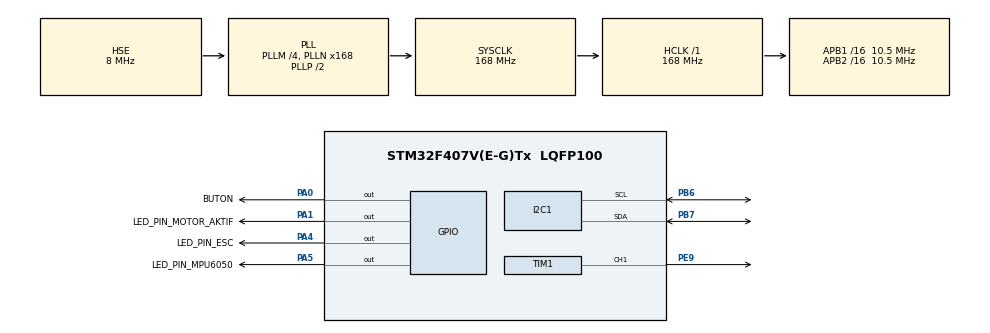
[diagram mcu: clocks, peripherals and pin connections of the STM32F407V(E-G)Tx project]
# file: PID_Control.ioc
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Dma.Request0=TIM1_CH1
Dma.TIM1_CH1.0.Direction=DMA_PERIPH_TO_MEMORY
Dma.TIM1_CH1.0.FIFOMode=DMA_FIFOMODE_DISABLE
Dma.TIM1_CH1.0.Instance=DMA2_Stream1
Dma.TIM1_CH1.0.MemDataAlignment=DMA_MDATAALIGN_HALFWORD
Dma.TIM1_CH1.0.MemInc=DMA_MINC_ENABLE
Dma.TIM1_CH1.0.Mode=DMA_CIRCULAR
Dma.TIM1_CH1.0.PeriphDataAlignment=DMA_PDATAALIGN_HALFWORD
Dma.TIM1_CH1.0.PeriphInc=DMA_PINC_DISABLE
Dma.TIM1_CH1.0.Priority=DMA_PRIORITY_LOW
I2C1.I2C_Mode=I2C_Fast
Mcu.Family=STM32F4
Mcu.Name=STM32F407V(E-G)Tx
Mcu.Package=LQFP100
NVIC.DMA2_Stream1_IRQn=true\:0\:0\:false\:false\:true\:false\:true\:true
NVIC.PriorityGroup=NVIC_PRIORITYGROUP_0
PA0-WKUP.GPIO_Label=BUTON
PA0-WKUP.Signal=GPIO_Output
PA1.GPIO_Label=LED_PIN_MOTOR_AKTIF
PA1.Signal=GPIO_Output
PA13.Mode=Serial_Wire
PA13.Signal=SYS_JTMS-SWDIO
PA14.Mode=Serial_Wire
PA14.Signal=SYS_JTCK-SWCLK
PA4.GPIO_Label=LED_PIN_ESC
PA4.Signal=GPIO_Output
PA5.GPIO_Label=LED_PIN_MPU6050
PA5.Signal=GPIO_Output
PB6.Mode=I2C
PB6.Signal=I2C1_SCL
PB7.Mode=I2C
PB7.Signal=I2C1_SDA
PE9.Signal=S_TIM1_CH1
PH0-OSC_IN.Mode=HSE-External-Oscillator
PH0-OSC_IN.Signal=RCC_OSC_IN
PH1-OSC_OUT.Mode=HSE-External-Oscillator
PH1-OSC_OUT.Signal=RCC_OSC_OUT
ProjectManager.HeapSize=0x200
ProjectManager.StackSize=0x400
ProjectManager.TargetToolchain=STM32CubeIDE
RCC.48MHZClocksFreq_Value=48000000
RCC.AHBFreq_Value=168000000
RCC.APB1CLKDivider=RCC_HCLK_DIV16
RCC.APB1Freq_Value=10500000
RCC.APB1TimFreq_Value=21000000
RCC.APB2CLKDivider=RCC_HCLK_DIV16
RCC.APB2Freq_Value=10500000
RCC.APB2TimFreq_Value=21000000
RCC.CortexFreq_Value=168000000
RCC.HCLKFreq_Value=168000000
RCC.HSE_VALUE=8000000
RCC.HSI_VALUE=16000000
RCC.LSE_VALUE=32768
RCC.PLLM=4
RCC.PLLN=168
RCC.PLLQ=7
RCC.PLLSourceVirtual=RCC_PLLSOURCE_HSE
RCC.SYSCLKFreq_VALUE=168000000
RCC.SYSCLKSource=RCC_SYSCLKSOURCE_PLLCLK
RCC.VCOOutputFreq_Value=336000000
SH.S_TIM1_CH1.0=TIM1_CH1,PWM Generation1 CH1
TIM1.Channel-PWM\ Generation1\ CH1=TIM_CHANNEL_1
TIM1.Period=1000-1
TIM1.Prescaler=420-1
board=STM32F407G-DISC1

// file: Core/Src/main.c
/* USER CODE BEGIN Header */
/**
  ******************************************************************************
  * @file           : main.c
  * @brief          : Main program body
  ******************************************************************************
  * @attention
  *
  * Copyright (c) 2024 STMicroelectronics.
  * All rights reserved.
  *
  * This software is licensed under terms that can be found in the LICENSE file
  * in the root directory of this software component.
  * If no LICENSE file comes with this software, it is provided AS-IS.
  *
  ******************************************************************************
  */
/* USER CODE END Header */
#include "main.h"

/* USER CODE BEGIN Includes */
#include "stm32f4xx_hal.h"
#include "stdio.h"
#include "stdlib.h"
#include "math.h"
#include "string.h"
#include "stdbool.h"
/* USER CODE END Includes */

/* USER CODE BEGIN PTD */
#define Calibrate 1
/* USER CODE END PTD */

/* USER CODE BEGIN PD */
#define MPU6050_ADDR 0x68<<1 // MPU6050 sensörünün I2C adresi. 0x68 adresini sola 1 bit kaydırarak (0xD0) elde edilir.
#define PWR_MGMT_1_REG 0x6B // Güç yönetimi kaydı 1'in adresi. Sensörün çalışma modunu ayarlamak için kullanılır.
#define SMPLRT_DIV_REG 0x19 // Örnekleme hızı bölen kaydının adresi. Sensörün örnekleme hızını ayarlamak için kullanılır.
#define GYRO_CNFG_REG 0x1B // Jiroskop yapılandırma kaydının adresi. Jiroskopun hassasiyetini ayarlamak için kullanılır.
#define ACC_CNFG_REG 0x1C // İvmeölçer yapılandırma kaydının adresi. İvmeölçerin hassasiyetini ayarlamak için kullanılır.

/* USER CODE END PD */

I2C_HandleTypeDef hi2c1;

TIM_HandleTypeDef htim1;
DMA_HandleTypeDef hdma_tim1_ch1;

/* USER CODE BEGIN PV */
uint8_t data; // Genel amaçlı bir bayt (8 bit) veri saklamak için kullanılır.
uint8_t buffer[2], cuffer[2], tuffer[2]; // I2C veri alışverişi için kullanılan bayt dizileri.
int16_t gyro_raw[3], acc_raw[3]; // Ham jiroskop ve ivmeölçer verilerini saklamak için kullanılan 16 bitlik tam sayı dizileri.
float gyro_cal[3]; // Jiroskop kalibrasyon değerlerini saklamak için kullanılan kayan noktalı sayı dizisi.
int16_t acc_total_vector; // İvmeölçer verilerinin toplam vektör büyüklüğünü saklamak için kullanılan 16 bitlik tam sayı.
float angle_pitch_gyro, angle_roll_gyro; // Jiroskop verilerine dayalı olarak hesaplanan pitch ve roll açıları.
float angle_pitch_acc, angle_roll_acc; // İvmeölçer verilerine dayalı olarak hesaplanan pitch ve roll açıları.
float angle_pitch, angle_roll; // Filtrelenmiş son pitch ve roll açıları.
int16_t raw_temp; // Ham sıcaklık verisini saklamak için kullanılan 16 bitlik tam sayı.
float temp; // İşlenmiş sıcaklık değerini saklamak için kullanılan kayan noktalı sayı.
int i; // Genel amaçlı döngü sayacı veya indeks değişkeni.
float prevtime, prevtime1, time1, elapsedtime1, prevtime2, time2, elapsedtime2; // Zaman ölçümü ve geçen süre hesaplamaları için kullanılan kayan noktalı sayılar.
HAL_StatusTypeDef set_gyro; // HAL fonksiyonlarının dönüş değerini saklamak için kullanılan enum türü.
// PID kontrolcüsü parametrelerini başlat
float Kp = 0.01f; // Oransal kazanç.
float Ki = 0.00000001f; // İntegral kazanç.
float Kd = 15.00f; // Türevsel kazanç.
// Hedef açıyı belirle (örneğin derece cinsinden)
float hedef_aci = 30.0f; // Sistem tarafından ulaşılması gereken hedef açı.
float mevcut_aci = 0.0f; // Sistemin mevcut açısı.
// Hata ve zaman için başlangıç değerlerini ayarla
float pid_cikti; // PID kontrolcüsünün çıktı değeri.
float hata = 0.0f; // Hedef açı ile mevcut açı arasındaki fark.
float turevsel_hata; // Hatanın zaman içindeki değişim oranı.
float onceki_hata = 0.0f; // Önceki hata değeri.
float toplam_hata = 0.0f; // Hataların zaman içindeki toplamı (integrali).
uint32_t onceki_zaman = 0; // Önceki zaman ölçümü.
uint32_t simdiki_zaman = 0; // �?imdiki zaman ölçümü.
float CCR_degeri; // PWM sinyalinin karşılaştırma değeri.
int sayim = 0; // Genel amaçlı sayaç veya durum bayrağı.
bool motorAktif = false; // Motorun aktif olup olmadığını kontrol eden değişken.
/* USER CODE END PV */

void SystemClock_Config(void);
static void MX_GPIO_Init(void);
static void MX_DMA_Init(void);
static void MX_TIM1_Init(void);
static void MX_I2C1_Init(void);

/* USER CODE BEGIN 0 */

// Mikrosaniye cinsinden zamanı döndüren fonksiyon
// STM32'de bu işlevi SysTick timer sağlar.
// SysTick timer kullanarak milisaniye cinsinden zamanı döndüren fonksiyon
uint32_t getMillis(){
    return HAL_GetTick();
}

// CCR değerini güncellemek için fonksiyon
void CCR_guncelle() {
    static unsigned long onceki_zaman = 0; // Önceki zamanı saklamak için statik değişken
    unsigned long simdiki_zaman = getMillis(); // Geçerli zamanı al
    unsigned long delta_zaman = simdiki_zaman - onceki_zaman; // Zaman farkını hesapla

    // Eğer sayım 0 ise, CCR değerini başlangıç değeri olan 50.0f yap ve sayımı 1 yap
     if (sayim == 0) {
         CCR_degeri = 50.0f;
         sayim = 1;
         onceki_zaman = simdiki_zaman;
     }
     // Eğer zaman farkı 100ms'den büyükse CCR değerini güncelle
    if (delta_zaman > 300) {
        // PID çıktısının işaretine göre CCR değerini artır veya azalt
        CCR_degeri += pid_cikti;
        onceki_zaman = simdiki_zaman; // Zamanı güncelle

        // CCR değerini minimum ve maksimum sınırlar içinde tut
        const float CCR_MIN = 50.0f;
        const float CCR_MAX = 100.0f;
        CCR_degeri = (CCR_degeri < CCR_MIN) ? CCR_MIN : (CCR_degeri > CCR_MAX) ? CCR_MAX : CCR_degeri;

        // CCR değerini PWM sinyali için güncelle
        __HAL_TIM_SET_COMPARE(&htim1, TIM_CHANNEL_1, CCR_degeri);
    }
}

// MPU6050 'den açı değerini oku
void mpu6050() {
    // Zaman ölçümü için değişkenler
    prevtime1 = time1; // Önceki zamanı sakla
    time1 = HAL_GetTick(); // Geçerli zamanı al
    elapsedtime1 = (time1 - prevtime1) * 1000; // Geçen süreyi hesapla

    // İvmeölçer verilerini oku
    tuffer[0] = 0x3B; // İvmeölçer veri başlangıç adresi
    HAL_I2C_Master_Transmit(&hi2c1, MPU6050_ADDR, tuffer, 1, HAL_MAX_DELAY); // Adresi gönder
    HAL_I2C_Master_Receive(&hi2c1, MPU6050_ADDR, tuffer, 6, HAL_MAX_DELAY); // 6 bayt veri al

    // Ham ivmeölçer verilerini birleştir
    acc_raw[0] = (tuffer[0] << 8 | tuffer[1]); // X ekseni
    acc_raw[1] = (tuffer[2] << 8 | tuffer[3]); // Y ekseni
    acc_raw[2] = (tuffer[4] << 8 | tuffer[5]); // Z ekseni

    // Sıcaklık verisini oku
    buffer[0] = 0x41; // Sıcaklık veri başlangıç adresi
    HAL_I2C_Master_Transmit(&hi2c1, MPU6050_ADDR, buffer, 1, HAL_MAX_DELAY); // Adresi gönder
    HAL_I2C_Master_Receive(&hi2c1, MPU6050_ADDR, buffer, 2, HAL_MAX_DELAY); // 2 bayt veri al

    // Ham sıcaklık verisini birleştir ve gerçek sıcaklığa çevir
    raw_temp = (buffer[0] << 8 | buffer[1]);
    temp = (raw_temp / 340.0) + 36.53; // MPU6050 datasheet formülüne göre hesaplama

    // Jiroskop verilerini oku
    cuffer[0] = 0x43; // Jiroskop veri başlangıç adresi
    HAL_I2C_Master_Transmit(&hi2c1, MPU6050_ADDR, cuffer, 1, HAL_MAX_DELAY); // Adresi gönder
    HAL_I2C_Master_Receive(&hi2c1, MPU6050_ADDR, cuffer, 6, HAL_MAX_DELAY); // 6 bayt veri al

    // Ham jiroskop verilerini birleştir ve kalibrasyon değerlerini çıkar
    gyro_raw[0] = (cuffer[0] << 8 | cuffer[1]) - gyro_cal[0]; // X ekseni
    gyro_raw[1] = (cuffer[2] << 8 | cuffer[3]) - gyro_cal[1]; // Y ekseni
    gyro_raw[2] = (cuffer[4] << 8 | cuffer[5]) - gyro_cal[2]; // Z ekseni

    // Jiroskop verilerini kullanarak açıları güncelle
    angle_pitch_gyro += gyro_raw[0] * 0.0000611; // Pitch açısı
    angle_roll_gyro += gyro_raw[1] * 0.0000611; // Roll açısı

    // Jiroskop verilerini kullanarak birbirine etki eden açıları güncelle
    angle_pitch_gyro += angle_roll_gyro * sin(gyro_raw[2] * 0.000001066);
    angle_roll_gyro += angle_pitch_gyro * sin(gyro_raw[2] * 0.000001066);

    // İvmeölçer verilerinin toplam vektörünü hesapla
    acc_total_vector = sqrt((acc_raw[0] * acc_raw[0]) + (acc_raw[1] * acc_raw[1]) + (acc_raw[2] * acc_raw[2]));

    // İvmeölçer verilerini kullanarak açıları hesapla
    angle_pitch_acc = asin((float)acc_raw[1] / acc_total_vector) * 57.296; // Pitch açısı
    angle_roll_acc = asin((float)acc_raw[0] / acc_total_vector) * -57.296; // Roll açısı

    // Açıları kalibre et (gerekirse)
    angle_pitch_acc -= 0.00;
    angle_roll_acc -= 0.00;

    // Jiroskop verilerini ivmeölçer verileriyle birleştir
    if (set_gyro) {
        angle_pitch = angle_pitch_gyro * 0.9996 + angle_pitch_acc * 0.0004; // Pitch açısı
        angle_roll = angle_roll_gyro * 0.9996 + angle_roll_acc * 0.0004; // Roll açısı
    } else {
        angle_pitch = angle_pitch_acc; // İlk okumada sadece ivmeölçer verilerini kullan
        set_gyro = true;
    }

    // Belirli bir süre beklemek için döngü
    while ((HAL_GetTick() - prevtime) * 1000 < 4000);
    prevtime = getMillis(); // Zamanı güncelle
}

// PID kontrol döngüsü
// Bu fonksiyon bir timer interrupt içinde çağrılmalıdır.
void pid_kontrol_dongusu() {

	 // Delta zamanı hesapla
	 uint32_t simdiki_zaman = getMillis();
	 uint32_t delta_zaman = simdiki_zaman - onceki_zaman;

    // Açı değerini oku
    mevcut_aci = fabs(angle_pitch);
    printf("Mevcut aci: %f\n", mevcut_aci); // @suppress("Float formatting support")

    // Hata hesapla
    hata = hedef_aci - mevcut_aci;

    // İntegral hata hesapla
    toplam_hata = toplam_hata + (hata * delta_zaman);

    // Türevsel hata hesapla
    turevsel_hata = (hata - onceki_hata) / delta_zaman;

    // PID çıktısını hesapla
    pid_cikti = (Kp * hata) + (Ki * toplam_hata) + (Kd * turevsel_hata);

    // Önceki hatayı ve zamanı güncelle
    onceki_hata = hata;
    onceki_zaman = simdiki_zaman;

    printf("Mevcut aci: %f\t", mevcut_aci); // @suppress("Float formatting support")
    printf("PID cikti: %f\n", pid_cikti); // @suppress("Float formatting support")
}
/* USER CODE END 0 */

int main(void)
{

  /* MCU Configuration--------------------------------------------------------*/

  /* Reset of all peripherals, Initializes the Flash interface and the Systick. */
  HAL_Init();

  /* Configure the system clock */
  SystemClock_Config();

  /* Initialize all configured peripherals */
  MX_GPIO_Init();
  MX_DMA_Init();
  MX_TIM1_Init();
  MX_I2C1_Init();
  /* USER CODE BEGIN 2 */

// MPU6050 Konfigürasyonu

  data = 0x00;
  HAL_I2C_Mem_Write(&hi2c1, MPU6050_ADDR, PWR_MGMT_1_REG, 1, &data, 1, HAL_MAX_DELAY);
  // Sensörü uyandır ve iç saatini kullanmak üzere ayarla

  data = 0x08;
  HAL_I2C_Mem_Write(&hi2c1, MPU6050_ADDR, GYRO_CNFG_REG, 1, &data, 1, HAL_MAX_DELAY);
  // Jiroskop için hassasiyeti ayarla (±500 derece/saniye)

  data = 0x10;
  HAL_I2C_Mem_Write(&hi2c1, MPU6050_ADDR, ACC_CNFG_REG, 1, &data, 1, HAL_MAX_DELAY);
  // İvmeölçer için hassasiyeti ayarla (±8g)

  // Jiroskop kalibrasyonu için 2000 ölçüm yap
  for (i = 0; i < 2000; i++) {
      prevtime2 = time2; // Önceki zamanı sakla
      time2 = HAL_GetTick(); // Geçerli zamanı al
      elapsedtime2 = (time2 - prevtime2) * 1000; // Geçen süreyi hesapla

      cuffer[0] = 0x43; // Jiroskop veri başlangıç adresi
      HAL_I2C_Master_Transmit(&hi2c1, MPU6050_ADDR, cuffer, 1, HAL_MAX_DELAY); // Adresi gönder
      HAL_I2C_Master_Receive(&hi2c1, MPU6050_ADDR, cuffer, 6, HAL_MAX_DELAY); // 6 bayt veri al

      // Ham jiroskop verilerini birleştir
      gyro_raw[0] = (cuffer[0] << 8 | cuffer[1]); // X ekseni
      gyro_raw[1] = (cuffer[2] << 8 | cuffer[3]); // Y ekseni
      gyro_raw[2] = (cuffer[4] << 8 | cuffer[5]); // Z ekseni

      // Kalibrasyon değerlerini topla
      gyro_cal[0] += gyro_raw[0];
      gyro_cal[1] += gyro_raw[1];
      gyro_cal[2] += gyro_raw[2];

      HAL_Delay(3); // 3 milisaniye bekle
  }

  // Kalibrasyon değerlerinin ortalamasını al
  gyro_cal[0] /= 2000;
  gyro_cal[1] /= 2000;
  gyro_cal[2] /= 2000;

  // Kalibrasyon işlemi başladığında LED'i yakın
  HAL_GPIO_WritePin(LED_PIN_MPU6050_GPIO_Port, LED_PIN_MPU6050_Pin,GPIO_PIN_SET);
  HAL_Delay(500);
  HAL_GPIO_WritePin(LED_PIN_MPU6050_GPIO_Port, LED_PIN_MPU6050_Pin,GPIO_PIN_RESET);
  HAL_Delay(500);

 // ESC başlangıcı ve kalibrasyonu
  HAL_TIM_PWM_Start(&htim1, TIM_CHANNEL_1); // PWM sinyalini başlat

  #if Calibrate

      TIM1->CCR1 = 100; // CCR1'i 100'e ayarla (genellikle maksimum gaz anlamına gelir)
      HAL_Delay(2000); // 2 saniye bekle (ESC'nin maksimum gazı algılaması için)
      TIM1->CCR1 = 50; // CCR1'i 50'ye ayarla (genellikle minimum gaz anlamına gelir)
      HAL_Delay(1000); // 1 saniye bekle (ESC'nin minimum gazı algılaması için)
      TIM1->CCR1 = 0; // CCR1'i 0'a ayarla (ESC'nin kalibrasyonunu tamamlaması için)
      // Kalibrasyon işlemi tamamlandığında LED'i söndür
      HAL_GPIO_WritePin(LED_PIN_ESC_GPIO_Port, LED_PIN_ESC_Pin,GPIO_PIN_SET);
      HAL_Delay(500);
      HAL_GPIO_WritePin(LED_PIN_ESC_GPIO_Port, LED_PIN_ESC_Pin,GPIO_PIN_RESET);
      HAL_Delay(500);

  #endif

  /* USER CODE END 2 */

  /* Infinite loop */
  /* USER CODE BEGIN WHILE */
  while (1)
  {
	  // Buton kontrolü
	  if(HAL_GPIO_ReadPin(BUTON_GPIO_Port, BUTON_Pin) == GPIO_PIN_SET) // Butona basıldı mı kontrol et
	  {
	    motorAktif = !motorAktif; // Motor aktiflik durumunu değiştir
	    if(motorAktif)
	    {
	      // Motor aktif olduğunda LED'i yak
	      HAL_GPIO_WritePin(LED_PIN_MOTOR_AKTIF_GPIO_Port, LED_PIN_MOTOR_AKTIF_Pin, GPIO_PIN_SET);
	    }
	    else
	    {
	      // Motor pasif olduğunda LED'i söndür
	      HAL_GPIO_WritePin(LED_PIN_MOTOR_AKTIF_GPIO_Port, LED_PIN_MOTOR_AKTIF_Pin, GPIO_PIN_RESET);
	    }
	    HAL_Delay(500); // Buton debouncing için bekleme süresi
	  }

	  // Motor aktif ise işlemleri yap
	  if(motorAktif)
	  {
	    // Motor aktifken yapılacak işlemler
	    mpu6050(); // MPU6050 sensöründen açı ve sıcaklık verilerini okur ve işler.
	    pid_kontrol_dongusu(); // PID kontrol döngüsünü çalıştırır, hedef açıya ulaşmak için gerekli düzeltmeleri hesaplar.
	    CCR_guncelle(); // PWM sinyalinin karşılaştırma değerini (CCR), PID kontrol çıktısına göre günceller.
	  }
	  else
	  {
	    // Motor pasif ise CCR_degeri'ni yavaşça 50'ye çek
	    while(CCR_degeri > 50.0f)
	    {
	      CCR_degeri -= 0.5; // CCR_degeri'ni 0.5 birim azalt
	      HAL_Delay(100); // 0.25 saniye bekle
	      TIM1->CCR1 = CCR_degeri; // Güncellenen CCR_degeri'ni CCR1'e ata
	    }

	  }

    /* USER CODE END WHILE */

  }
}

void SystemClock_Config(void)
{
  RCC_OscInitTypeDef RCC_OscInitStruct = {0};
  RCC_ClkInitTypeDef RCC_ClkInitStruct = {0};

  /** Configure the main internal regulator output voltage
  */
  __HAL_RCC_PWR_CLK_ENABLE();
  __HAL_PWR_VOLTAGESCALING_CONFIG(PWR_REGULATOR_VOLTAGE_SCALE1);

  /** Initializes the RCC Oscillators according to the specified parameters
  * in the RCC_OscInitTypeDef structure.
  */
  RCC_OscInitStruct.OscillatorType = RCC_OSCILLATORTYPE_HSE;
  RCC_OscInitStruct.HSEState = RCC_HSE_ON;
  RCC_OscInitStruct.PLL.PLLState = RCC_PLL_ON;
  RCC_OscInitStruct.PLL.PLLSource = RCC_PLLSOURCE_HSE;
  RCC_OscInitStruct.PLL.PLLM = 4;
  RCC_OscInitStruct.PLL.PLLN = 168;
  RCC_OscInitStruct.PLL.PLLP = RCC_PLLP_DIV2;
  RCC_OscInitStruct.PLL.PLLQ = 7;
  if (HAL_RCC_OscConfig(&RCC_OscInitStruct) != HAL_OK)
  {
    Error_Handler();
  }

  /** Initializes the CPU, AHB and APB buses clocks
  */
  RCC_ClkInitStruct.ClockType = RCC_CLOCKTYPE_HCLK|RCC_CLOCKTYPE_SYSCLK
                              |RCC_CLOCKTYPE_PCLK1|RCC_CLOCKTYPE_PCLK2;
  RCC_ClkInitStruct.SYSCLKSource = RCC_SYSCLKSOURCE_PLLCLK;
  RCC_ClkInitStruct.AHBCLKDivider = RCC_SYSCLK_DIV1;
  RCC_ClkInitStruct.APB1CLKDivider = RCC_HCLK_DIV16;
  RCC_ClkInitStruct.APB2CLKDivider = RCC_HCLK_DIV16;

  if (HAL_RCC_ClockConfig(&RCC_ClkInitStruct, FLASH_LATENCY_5) != HAL_OK)
  {
    Error_Handler();
  }
}

static void MX_I2C1_Init(void)
{

  hi2c1.Instance = I2C1;
  hi2c1.Init.ClockSpeed = 400000;
  hi2c1.Init.DutyCycle = I2C_DUTYCYCLE_2;
  hi2c1.Init.OwnAddress1 = 0;
  hi2c1.Init.AddressingMode = I2C_ADDRESSINGMODE_7BIT;
  hi2c1.Init.DualAddressMode = I2C_DUALADDRESS_DISABLE;
  hi2c1.Init.OwnAddress2 = 0;
  hi2c1.Init.GeneralCallMode = I2C_GENERALCALL_DISABLE;
  hi2c1.Init.NoStretchMode = I2C_NOSTRETCH_DISABLE;
  if (HAL_I2C_Init(&hi2c1) != HAL_OK)
  {
    Error_Handler();
  }

}

static void MX_TIM1_Init(void)
{

  TIM_MasterConfigTypeDef sMasterConfig = {0};
  TIM_OC_InitTypeDef sConfigOC = {0};
  TIM_BreakDeadTimeConfigTypeDef sBreakDeadTimeConfig = {0};

  htim1.Instance = TIM1;
  htim1.Init.Prescaler = 420-1;
  htim1.Init.CounterMode = TIM_COUNTERMODE_UP;
  htim1.Init.Period = 1000-1;
  htim1.Init.ClockDivision = TIM_CLOCKDIVISION_DIV1;
  htim1.Init.RepetitionCounter = 0;
  htim1.Init.AutoReloadPreload = TIM_AUTORELOAD_PRELOAD_DISABLE;
  if (HAL_TIM_PWM_Init(&htim1) != HAL_OK)
  {
    Error_Handler();
  }
  sMasterConfig.MasterOutputTrigger = TIM_TRGO_RESET;
  sMasterConfig.MasterSlaveMode = TIM_MASTERSLAVEMODE_DISABLE;
  if (HAL_TIMEx_MasterConfigSynchronization(&htim1, &sMasterConfig) != HAL_OK)
  {
    Error_Handler();
  }
  sConfigOC.OCMode = TIM_OCMODE_PWM1;
  sConfigOC.Pulse = 0;
  sConfigOC.OCPolarity = TIM_OCPOLARITY_HIGH;
  sConfigOC.OCNPolarity = TIM_OCNPOLARITY_HIGH;
  sConfigOC.OCFastMode = TIM_OCFAST_DISABLE;
  sConfigOC.OCIdleState = TIM_OCIDLESTATE_RESET;
  sConfigOC.OCNIdleState = TIM_OCNIDLESTATE_RESET;
  if (HAL_TIM_PWM_ConfigChannel(&htim1, &sConfigOC, TIM_CHANNEL_1) != HAL_OK)
  {
    Error_Handler();
  }
  sBreakDeadTimeConfig.OffStateRunMode = TIM_OSSR_DISABLE;
  sBreakDeadTimeConfig.OffStateIDLEMode = TIM_OSSI_DISABLE;
  sBreakDeadTimeConfig.LockLevel = TIM_LOCKLEVEL_OFF;
  sBreakDeadTimeConfig.DeadTime = 0;
  sBreakDeadTimeConfig.BreakState = TIM_BREAK_DISABLE;
  sBreakDeadTimeConfig.BreakPolarity = TIM_BREAKPOLARITY_HIGH;
  sBreakDeadTimeConfig.AutomaticOutput = TIM_AUTOMATICOUTPUT_DISABLE;
  if (HAL_TIMEx_ConfigBreakDeadTime(&htim1, &sBreakDeadTimeConfig) != HAL_OK)
  {
    Error_Handler();
  }
  HAL_TIM_MspPostInit(&htim1);

}

static void MX_DMA_Init(void)
{

  /* DMA controller clock enable */
  __HAL_RCC_DMA2_CLK_ENABLE();

  /* DMA interrupt init */
  /* DMA2_Stream1_IRQn interrupt configuration */
  HAL_NVIC_SetPriority(DMA2_Stream1_IRQn, 0, 0);
  HAL_NVIC_EnableIRQ(DMA2_Stream1_IRQn);

}

static void MX_GPIO_Init(void)
{
  GPIO_InitTypeDef GPIO_InitStruct = {0};

  /* GPIO Ports Clock Enable */
  __HAL_RCC_GPIOH_CLK_ENABLE();
  __HAL_RCC_GPIOA_CLK_ENABLE();
  __HAL_RCC_GPIOE_CLK_ENABLE();
  __HAL_RCC_GPIOB_CLK_ENABLE();

  /*Configure GPIO pin Output Level */
  HAL_GPIO_WritePin(GPIOA, BUTON_Pin|LED_PIN_MOTOR_AKTIF_Pin|LED_PIN_ESC_Pin|LED_PIN_MPU6050_Pin, GPIO_PIN_RESET);

  /*Configure GPIO pins : BUTON_Pin LED_PIN_MOTOR_AKTIF_Pin LED_PIN_ESC_Pin LED_PIN_MPU6050_Pin */
  GPIO_InitStruct.Pin = BUTON_Pin|LED_PIN_MOTOR_AKTIF_Pin|LED_PIN_ESC_Pin|LED_PIN_MPU6050_Pin;
  GPIO_InitStruct.Mode = GPIO_MODE_OUTPUT_PP;
  GPIO_InitStruct.Pull = GPIO_NOPULL;
  GPIO_InitStruct.Speed = GPIO_SPEED_FREQ_LOW;
  HAL_GPIO_Init(GPIOA, &GPIO_InitStruct);

}

void Error_Handler(void)
{
  __disable_irq();
  while (1)
  {
  }
}
